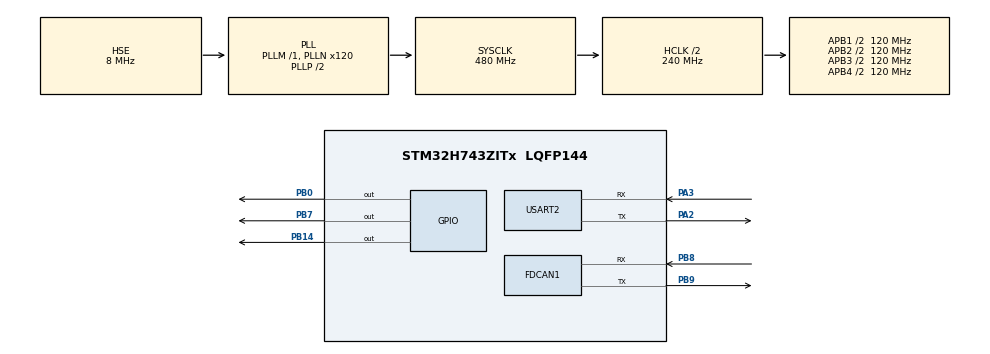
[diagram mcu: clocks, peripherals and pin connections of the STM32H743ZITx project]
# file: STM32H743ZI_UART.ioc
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Dma.Request0=USART2_RX
Dma.USART2_RX.0.Direction=DMA_PERIPH_TO_MEMORY
Dma.USART2_RX.0.EventEnable=DISABLE
Dma.USART2_RX.0.FIFOMode=DMA_FIFOMODE_DISABLE
Dma.USART2_RX.0.Instance=DMA1_Stream0
Dma.USART2_RX.0.MemDataAlignment=DMA_MDATAALIGN_BYTE
Dma.USART2_RX.0.MemInc=DMA_MINC_ENABLE
Dma.USART2_RX.0.Mode=DMA_CIRCULAR
Dma.USART2_RX.0.PeriphDataAlignment=DMA_PDATAALIGN_BYTE
Dma.USART2_RX.0.PeriphInc=DMA_PINC_DISABLE
Dma.USART2_RX.0.Polarity=HAL_DMAMUX_REQ_GEN_RISING
Dma.USART2_RX.0.Priority=DMA_PRIORITY_LOW
Dma.USART2_RX.0.RequestNumber=1
Dma.USART2_RX.0.SignalID=NONE
Dma.USART2_RX.0.SyncEnable=DISABLE
Dma.USART2_RX.0.SyncPolarity=HAL_DMAMUX_SYNC_NO_EVENT
Dma.USART2_RX.0.SyncRequestNumber=1
Dma.USART2_RX.0.SyncSignalID=NONE
FDCAN1.AutoRetransmission=ENABLE
FDCAN1.DataPrescaler=3
FDCAN1.DataTimeSeg1=13
FDCAN1.DataTimeSeg2=2
FDCAN1.NominalPrescaler=3
FDCAN1.NominalSyncJumpWidth=1
FDCAN1.NominalTimeSeg1=13
FDCAN1.NominalTimeSeg2=2
FDCAN1.RxBuffersNbr=1
FDCAN1.RxFifo0ElmtsNbr=1
FDCAN1.StdFiltersNbr=1
FDCAN1.TxBuffersNbr=1
FDCAN1.TxFifoQueueElmtsNbr=1
Mcu.Family=STM32H7
Mcu.Name=STM32H743ZITx
Mcu.Package=LQFP144
NVIC.DMA1_Stream0_IRQn=true\:0\:0\:false\:false\:true\:false\:true
NVIC.FDCAN1_IT0_IRQn=true\:0\:0\:false\:false\:true\:true\:true
NVIC.FDCAN_CAL_IRQn=true\:0\:0\:false\:false\:true\:true\:true
NVIC.PriorityGroup=NVIC_PRIORITYGROUP_4
NVIC.USART2_IRQn=true\:0\:0\:false\:false\:true\:true\:true
PA2.Mode=Asynchronous
PA2.Signal=USART2_TX
PA3.Mode=Asynchronous
PA3.Signal=USART2_RX
PB0.Signal=GPIO_Output
PB14.Signal=GPIO_Output
PB7.Signal=GPIO_Output
PB8.Mode=FDCAN_Activate
PB8.Signal=FDCAN1_RX
PB9.Mode=FDCAN_Activate
PB9.Signal=FDCAN1_TX
PH0-OSC_IN\ (PH0).Mode=HSE-External-Oscillator
PH0-OSC_IN\ (PH0).Signal=RCC_OSC_IN
PH1-OSC_OUT\ (PH1).Mode=HSE-External-Oscillator
PH1-OSC_OUT\ (PH1).Signal=RCC_OSC_OUT
ProjectManager.HeapSize=0x200
ProjectManager.StackSize=0x400
ProjectManager.TargetToolchain=MDK-ARM V5.27
RCC.48MHZClocksFreq_Value=24000000
RCC.ADCFreq_Value=16125000
RCC.AHBFreq_Value=216000000
RCC.APB1CLKDivider=RCC_HCLK_DIV4
RCC.APB1Freq_Value=120000000
RCC.APB1TimFreq_Value=108000000
RCC.APB2CLKDivider=RCC_HCLK_DIV2
RCC.APB2Freq_Value=120000000
RCC.APB2TimFreq_Value=216000000
RCC.APB3Freq_Value=120000000
RCC.APB4Freq_Value=120000000
RCC.CortexFreq_Value=480000000
RCC.D1PPRE=RCC_APB3_DIV2
RCC.D2PPRE1=RCC_APB1_DIV2
RCC.D2PPRE2=RCC_APB2_DIV2
RCC.D3PPRE=RCC_APB4_DIV2
RCC.DIVM1=1
RCC.DIVN1=120
RCC.DIVQ1=20
RCC.HCLKFreq_Value=240000000
RCC.HPRE=RCC_HCLK_DIV2
RCC.HSE_VALUE=8000000
RCC.HSI_VALUE=64000000
RCC.PLL2FRACN=0
RCC.PLL3FRACN=0
RCC.PLLFRACN=0
RCC.PLLM=25
RCC.PLLMUL=RCC_PLL_MUL9
RCC.PLLN=432
RCC.PLLQ=9
RCC.PLLSourceVirtual=RCC_PLLSOURCE_HSE
RCC.PRESCALERUSB=RCC_USBCLKSOURCE_PLL_DIV1_5
RCC.PWR_Regulator_Voltage_Scale=PWR_REGULATOR_VOLTAGE_SCALE0
RCC.SYSCLKFreq_VALUE=480000000
RCC.SYSCLKSource=RCC_SYSCLKSOURCE_PLLCLK
RCC.SYSCLKSourceVirtual=RCC_SYSCLKSOURCE_PLLCLK
RCC.USBFreq_Value=48000000
RCC.VCOOutputFreq_Value=432000000
USART2.VirtualMode-Asynchronous=VM_ASYNC
board=NUCLEO-H743ZI

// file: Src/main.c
/* USER CODE BEGIN Header */
/**
  ******************************************************************************
  * @file           : main.c
  * @brief          : Main program body
  ******************************************************************************
  * @attention
  *
  * <h2><center>&copy; Copyright (c) 2021 STMicroelectronics.
  * All rights reserved.</center></h2>
  *
  * This software component is licensed by ST under BSD 3-Clause license,
  * the "License"; You may not use this file except in compliance with the
  * License. You may obtain a copy of the License at:
  *                        opensource.org/licenses/BSD-3-Clause
  *
  ******************************************************************************
  */
/* USER CODE END Header */
#include "main.h"

/* USER CODE BEGIN Includes */
#include "string.h"
#include "math.h"
#include "stdio.h"
/* USER CODE END Includes */

FDCAN_HandleTypeDef hfdcan1;

UART_HandleTypeDef huart2;
DMA_HandleTypeDef hdma_usart2_rx;

void SystemClock_Config(void);
static void MX_GPIO_Init(void);
static void MX_DMA_Init(void);
static void MX_USART2_UART_Init(void);
static void MX_FDCAN1_Init(void);
/* USER CODE BEGIN PFP */
void CAN_Servo_Tx(uint8_t *Data, uint8_t ID);
void CAN_Servo_Rx(uint8_t ID);
/* USER CODE END PFP */

/* USER CODE BEGIN 0 */
//uint8_t TxDataCTX[5] = {'C','A','N','T','X'};
uint8_t TxDataCTX[7];
uint16_t checksum;
uint16_t temp;
uint8_t temp2[1];
double time;
double voltage;
double current;
double temperature;
double angle;
double check;
char str[100];
uint8_t PWM[2];
uint8_t ID;
uint8_t TxDataERR[5] = {'E','R','R','O','R'};
uint8_t TxDataCLB[5] = {'C','A','L','B','K'};
uint8_t TxDataWHL[5] = {'W','H','I','L','E'};

//uint8_t RxData[5];

//uint8_t TxData[8];
uint8_t RxData[8];

FDCAN_FilterTypeDef sFilterConfig;

FDCAN_TxHeaderTypeDef TxHeader;

FDCAN_RxHeaderTypeDef RxHeader;
/* USER CODE END 0 */

int main(void)
{

  /* MCU Configuration--------------------------------------------------------*/

  /* Reset of all peripherals, Initializes the Flash interface and the Systick. */
  HAL_Init();

  /* Configure the system clock */
  SystemClock_Config();

  /* Initialize all configured peripherals */
  MX_GPIO_Init();
  MX_DMA_Init();
  MX_USART2_UART_Init();
  MX_FDCAN1_Init();
  /* USER CODE BEGIN 2 */
	HAL_UART_Receive_DMA(&huart2, RxData, 8);

  /* USER CODE END 2 */

  /* Infinite loop */
  /* USER CODE BEGIN WHILE */
  while (1)
  {

		//HAL_UART_Transmit(&huart2, TxDataWHL, 5, 200);
//		time =HAL_GetTick();
//		temp=(uint16_t)(sin(time/500)*500 + 1500);
		temp=(uint16_t)(1500);
		PWM[0]= temp>>8;
		PWM[1]= (uint8_t)(temp&0xFF);
		ID=10;
//			CAN_Servo_Tx(PWM, ID);

		CAN_Servo_Rx(ID);
	HAL_Delay(500);
//					HAL_GPIO_TogglePin(GPIOB,GPIO_PIN_14); //red

//		   while (HAL_FDCAN_GetRxFifoFillLevel(&hfdcan1, FDCAN_RX_FIFO0) < 2) {}

//			 HAL_GPIO_TogglePin(GPIOB,GPIO_PIN_14); //red
//				 TxDataERR[0]=HAL_FDCAN_GetRxFifoFillLevel(&hfdcan1, FDCAN_RX_FIFO0);
//				 		HAL_UART_Transmit(&huart2, &TxDataERR[0], 1, 200);
//		HAL_Delay(500);
//				 HAL_FDCAN_GetRxMessage(&hfdcan1, FDCAN_RX_FIFO0, &RxHeader, RxData);
//				 HAL_UART_Transmit(&huart2, RxData, 8, 200);

    /* USER CODE END WHILE */

  }
}

void SystemClock_Config(void)
{
  RCC_OscInitTypeDef RCC_OscInitStruct = {0};
  RCC_ClkInitTypeDef RCC_ClkInitStruct = {0};

  /** Supply configuration update enable
  */
  HAL_PWREx_ConfigSupply(PWR_LDO_SUPPLY);
  /** Configure the main internal regulator output voltage
  */
  __HAL_PWR_VOLTAGESCALING_CONFIG(PWR_REGULATOR_VOLTAGE_SCALE0);

  while(!__HAL_PWR_GET_FLAG(PWR_FLAG_VOSRDY)) {}
  /** Initializes the RCC Oscillators according to the specified parameters
  * in the RCC_OscInitTypeDef structure.
  */
  RCC_OscInitStruct.OscillatorType = RCC_OSCILLATORTYPE_HSE;
  RCC_OscInitStruct.HSEState = RCC_HSE_ON;
  RCC_OscInitStruct.PLL.PLLState = RCC_PLL_ON;
  RCC_OscInitStruct.PLL.PLLSource = RCC_PLLSOURCE_HSE;
  RCC_OscInitStruct.PLL.PLLM = 1;
  RCC_OscInitStruct.PLL.PLLN = 120;
  RCC_OscInitStruct.PLL.PLLP = 2;
  RCC_OscInitStruct.PLL.PLLQ = 20;
  RCC_OscInitStruct.PLL.PLLR = 2;
  RCC_OscInitStruct.PLL.PLLRGE = RCC_PLL1VCIRANGE_3;
  RCC_OscInitStruct.PLL.PLLVCOSEL = RCC_PLL1VCOWIDE;
  RCC_OscInitStruct.PLL.PLLFRACN = 0;
  if (HAL_RCC_OscConfig(&RCC_OscInitStruct) != HAL_OK)
  {
    Error_Handler();
  }
  /** Initializes the CPU, AHB and APB buses clocks
  */
  RCC_ClkInitStruct.ClockType = RCC_CLOCKTYPE_HCLK|RCC_CLOCKTYPE_SYSCLK
                              |RCC_CLOCKTYPE_PCLK1|RCC_CLOCKTYPE_PCLK2
                              |RCC_CLOCKTYPE_D3PCLK1|RCC_CLOCKTYPE_D1PCLK1;
  RCC_ClkInitStruct.SYSCLKSource = RCC_SYSCLKSOURCE_PLLCLK;
  RCC_ClkInitStruct.SYSCLKDivider = RCC_SYSCLK_DIV1;
  RCC_ClkInitStruct.AHBCLKDivider = RCC_HCLK_DIV2;
  RCC_ClkInitStruct.APB3CLKDivider = RCC_APB3_DIV2;
  RCC_ClkInitStruct.APB1CLKDivider = RCC_APB1_DIV2;
  RCC_ClkInitStruct.APB2CLKDivider = RCC_APB2_DIV2;
  RCC_ClkInitStruct.APB4CLKDivider = RCC_APB4_DIV2;

  if (HAL_RCC_ClockConfig(&RCC_ClkInitStruct, FLASH_LATENCY_4) != HAL_OK)
  {
    Error_Handler();
  }
}

static void MX_FDCAN1_Init(void)
{
  hfdcan1.Instance = FDCAN1;
  hfdcan1.Init.FrameFormat = FDCAN_FRAME_CLASSIC;
  hfdcan1.Init.Mode = FDCAN_MODE_NORMAL;
  hfdcan1.Init.AutoRetransmission = ENABLE;
  hfdcan1.Init.TransmitPause = DISABLE;
  hfdcan1.Init.ProtocolException = DISABLE;
  hfdcan1.Init.NominalPrescaler = 3;
  hfdcan1.Init.NominalSyncJumpWidth = 1;
  hfdcan1.Init.NominalTimeSeg1 = 13;
  hfdcan1.Init.NominalTimeSeg2 = 2;
  hfdcan1.Init.MessageRAMOffset = 0;
  hfdcan1.Init.StdFiltersNbr = 1;
  hfdcan1.Init.ExtFiltersNbr = 0;
  hfdcan1.Init.RxFifo0ElmtsNbr = 1;
  hfdcan1.Init.RxFifo0ElmtSize = FDCAN_DATA_BYTES_8;
  hfdcan1.Init.RxFifo1ElmtsNbr = 0;
  hfdcan1.Init.RxFifo1ElmtSize = FDCAN_DATA_BYTES_8;
  hfdcan1.Init.RxBuffersNbr = 0;
  hfdcan1.Init.TxEventsNbr = 0;
  hfdcan1.Init.TxBuffersNbr = 0;
  hfdcan1.Init.TxFifoQueueElmtsNbr = 1;
  hfdcan1.Init.TxFifoQueueMode = FDCAN_TX_FIFO_OPERATION;
  hfdcan1.Init.TxElmtSize = FDCAN_DATA_BYTES_8;
  if (HAL_FDCAN_Init(&hfdcan1) != HAL_OK)
  {
    Error_Handler();
  }
  /* USER CODE BEGIN FDCAN1_Init 2 */
		/* Configure Rx filter */
  sFilterConfig.IdType = FDCAN_STANDARD_ID;
  sFilterConfig.FilterIndex = 0;
	sFilterConfig.FilterType = FDCAN_FILTER_DUAL;
  sFilterConfig.FilterConfig = FDCAN_FILTER_TO_RXFIFO0;
  sFilterConfig.FilterID1 = 10;
  sFilterConfig.FilterID2 = 10;
  if (HAL_FDCAN_ConfigFilter(&hfdcan1, &sFilterConfig) != HAL_OK)
  {
    /* Filter configuration Error */
    Error_Handler();
  }

	  /* Configure global filter to reject all non-matching frames */
//  HAL_FDCAN_ConfigGlobalFilter(&hfdcan1, FDCAN_REJECT, FDCAN_REJECT, FDCAN_REJECT_REMOTE, FDCAN_REJECT_REMOTE);
//		HAL_FDCAN_ConfigGlobalFilter(&hfdcan1, FDCAN_REJECT, FDCAN_ACCEPT_IN_RX_FIFO0, FDCAN_FILTER_REMOTE, FDCAN_FILTER_REMOTE);

  /* Start the FDCAN module */
  if (HAL_FDCAN_Start(&hfdcan1) != HAL_OK)
  {
    /* Start Error */
    Error_Handler();
  }

	  if (HAL_FDCAN_ActivateNotification(&hfdcan1, FDCAN_IT_RX_FIFO0_NEW_MESSAGE, 0) != HAL_OK)
  {
    /* Notification Error */
    Error_Handler();
  }

  /* USER CODE END FDCAN1_Init 2 */

}

static void MX_USART2_UART_Init(void)
{

  huart2.Instance = USART2;
  huart2.Init.BaudRate = 115200;
  huart2.Init.WordLength = UART_WORDLENGTH_8B;
  huart2.Init.StopBits = UART_STOPBITS_1;
  huart2.Init.Parity = UART_PARITY_NONE;
  huart2.Init.Mode = UART_MODE_TX_RX;
  huart2.Init.HwFlowCtl = UART_HWCONTROL_NONE;
  huart2.Init.OverSampling = UART_OVERSAMPLING_16;
  huart2.Init.OneBitSampling = UART_ONE_BIT_SAMPLE_DISABLE;
  huart2.Init.ClockPrescaler = UART_PRESCALER_DIV1;
  huart2.AdvancedInit.AdvFeatureInit = UART_ADVFEATURE_NO_INIT;
  if (HAL_UART_Init(&huart2) != HAL_OK)
  {
    Error_Handler();
  }
  if (HAL_UARTEx_SetTxFifoThreshold(&huart2, UART_TXFIFO_THRESHOLD_1_8) != HAL_OK)
  {
    Error_Handler();
  }
  if (HAL_UARTEx_SetRxFifoThreshold(&huart2, UART_RXFIFO_THRESHOLD_1_8) != HAL_OK)
  {
    Error_Handler();
  }
  if (HAL_UARTEx_DisableFifoMode(&huart2) != HAL_OK)
  {
    Error_Handler();
  }

}

static void MX_DMA_Init(void)
{

  /* DMA controller clock enable */
  __HAL_RCC_DMA1_CLK_ENABLE();

  /* DMA interrupt init */
  /* DMA1_Stream0_IRQn interrupt configuration */
  HAL_NVIC_SetPriority(DMA1_Stream0_IRQn, 0, 0);
  HAL_NVIC_EnableIRQ(DMA1_Stream0_IRQn);

}

static void MX_GPIO_Init(void)
{
  GPIO_InitTypeDef GPIO_InitStruct = {0};

  /* GPIO Ports Clock Enable */
  __HAL_RCC_GPIOH_CLK_ENABLE();
  __HAL_RCC_GPIOA_CLK_ENABLE();
  __HAL_RCC_GPIOB_CLK_ENABLE();

  /*Configure GPIO pin Output Level */
  HAL_GPIO_WritePin(GPIOB, GPIO_PIN_0|GPIO_PIN_14|GPIO_PIN_7, GPIO_PIN_RESET);

  /*Configure GPIO pins : PB0 PB14 PB7 */
  GPIO_InitStruct.Pin = GPIO_PIN_0|GPIO_PIN_14|GPIO_PIN_7;
  GPIO_InitStruct.Mode = GPIO_MODE_OUTPUT_PP;
  GPIO_InitStruct.Pull = GPIO_NOPULL;
  GPIO_InitStruct.Speed = GPIO_SPEED_FREQ_LOW;
  HAL_GPIO_Init(GPIOB, &GPIO_InitStruct);

}

/* USER CODE BEGIN 4 */
void HAL_UART_RxCpltCallback(UART_HandleTypeDef *huart)
{
	/*HAL_UART_Transmit(&huart2, RxData, 5, 200);
	for(int i=0;i<5;i++){
	TxData[i]=RxData[i];
}	*/
       // HAL_Delay(10);
}

/**
  * @brief  Rx FIFO 0 callback.
  * @param  hfdcan: pointer to an FDCAN_HandleTypeDef structure that contains
  *         the configuration information for the specified FDCAN.
  * @param  RxFifo0ITs: indicates which Rx FIFO 0 interrupts are signalled.
  *                     This parameter can be any combination of @arg FDCAN_Rx_Fifo0_Interrupts.
  * @retval None
  */
void HAL_FDCAN_RxFifo0Callback(FDCAN_HandleTypeDef *hfdcan, uint32_t RxFifo0ITs)
{
//	while (HAL_FDCAN_GetRxFifoFillLevel(&hfdcan1, FDCAN_RX_FIFO0) < 2) {}
    HAL_FDCAN_GetRxMessage(&hfdcan1, FDCAN_RX_FIFO0, &RxHeader, RxData);
//    HAL_FDCAN_GetRxMessage(&hfdcan1, FDCAN_RX_FIFO0, &RxHeader, &RxData[8]);
//    HAL_FDCAN_AddMessageToTxFifoQ(&hfdcan1, &TxHeader, TxData);  //Tranmit
//HAL_GPIO_TogglePin(GPIOB,GPIO_PIN_14); //red
angle=((double)(((int16_t)RxData[0])<<8 | (int16_t)RxData[1])-1800)/10.0;
				voltage=(double)RxData[2]/5;
				current=(double)RxData[3]/10;
				temperature=(double)RxData[4] - 60;
				check=(double)(((int16_t)RxData[6])<<8 | (int16_t)RxData[7]);
				temp2[0]=voltage;
				sprintf(str,"Angl: %.2f\nvolt: %.2f\ncurr: %.2f\nTemp: %.2f\nCheck: %.2f\n",angle,voltage,current,temperature,check);
				HAL_UART_Transmit(&huart2, (uint8_t *)str, 58, 10);
}

void CAN_Servo_Tx(uint8_t *PWM, uint8_t ID)
{

	/* Prepare Tx Header */
  TxHeader.Identifier = ID;
  TxHeader.IdType = FDCAN_STANDARD_ID;
  TxHeader.TxFrameType = FDCAN_DATA_FRAME;
  TxHeader.DataLength = FDCAN_DLC_BYTES_7;
  TxHeader.FDFormat = FDCAN_CLASSIC_CAN;

//  TxHeader.ErrorStateIndicator = FDCAN_ESI_ACTIVE;
//  TxHeader.BitRateSwitch = FDCAN_BRS_OFF;
//  TxHeader.TxEventFifoControl = FDCAN_NO_TX_EVENTS;
//  TxHeader.MessageMarker = 0;

  TxDataCTX[0]=0x80;
	TxDataCTX[1]=0x87;
	TxDataCTX[2]=0x77;

  TxDataCTX[3]=PWM[0];
	TxDataCTX[4]=PWM[1];

	checksum=TxDataCTX[0]+TxDataCTX[1]+TxDataCTX[2]+TxDataCTX[3]+TxDataCTX[4];
	TxDataCTX[5]=checksum>>8;
	TxDataCTX[6]=(uint8_t)checksum;

		if (HAL_FDCAN_AddMessageToTxFifoQ(&hfdcan1, &TxHeader, TxDataCTX) != HAL_OK)
        {
//            Error_Handler();
        };
//		HAL_Delay(1);
}

void CAN_Servo_Rx(uint8_t ID)
{

	/* Prepare Tx Header */
  TxHeader.Identifier = ID;
  TxHeader.IdType = FDCAN_STANDARD_ID;
  TxHeader.TxFrameType = FDCAN_REMOTE_FRAME;
	TxHeader.DataLength = FDCAN_DLC_BYTES_8;
	TxHeader.FDFormat = FDCAN_CLASSIC_CAN;

//	TxHeader.TxFrameType = FDCAN_DATA_FRAME;
//	TxHeader.DataLength = FDCAN_DLC_BYTES_7;
//  TxHeader.ErrorStateIndicator = FDCAN_ESI_ACTIVE;
//  TxHeader.BitRateSwitch = FDCAN_BRS_OFF;
//  TxHeader.TxEventFifoControl = FDCAN_NO_TX_EVENTS;
//  TxHeader.MessageMarker = 0;

  TxDataCTX[0]=0x80;
	TxDataCTX[1]=0x87;
	TxDataCTX[2]=0x77;

  TxDataCTX[3]=0x03;
	TxDataCTX[4]=0x84;

	checksum=TxDataCTX[0]+TxDataCTX[1]+TxDataCTX[2]+TxDataCTX[3]+TxDataCTX[4];
	TxDataCTX[5]=checksum>>8;
	TxDataCTX[6]=(uint8_t)checksum;

		if (HAL_FDCAN_AddMessageToTxFifoQ(&hfdcan1, &TxHeader, TxDataCTX) != HAL_OK)
        {
					HAL_GPIO_TogglePin(GPIOB,GPIO_PIN_14); //red
//            Error_Handler();
        };
		HAL_Delay(1);

}
/* USER CODE END 4 */

void Error_Handler(void)
{
  /* USER CODE BEGIN Error_Handler_Debug */
  /* User can add his own implementation to report the HAL error return state */
  //__disable_irq();
  while (1)
  {
//		HAL_GPIO_TogglePin(GPIOB,GPIO_PIN_14); //red
		HAL_UART_Transmit(&huart2, TxDataERR, 5, 200);
		HAL_Delay(500);
  }
  /* USER CODE END Error_Handler_Debug */
}
